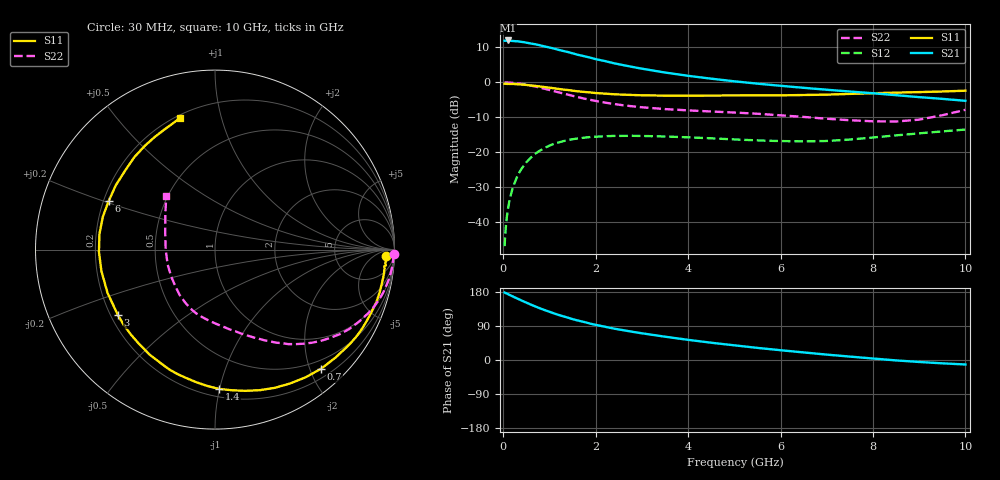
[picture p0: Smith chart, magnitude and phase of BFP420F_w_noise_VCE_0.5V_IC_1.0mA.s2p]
! Infineon Technologies  Discrete & RF Semiconductors
! BFP420F
! VCE =  0.5 V,  IC =  1.0 mA
! Common Emitter S-Parameters:  Sep 2011
# GHz  S  MA  R  50
!  f  S11  S21  S12  S22
! GHz  MAG  ANG  MAG  ANG  MAG  ANG  MAG  ANG
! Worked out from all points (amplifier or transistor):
!   54 points, 30 MHz to 10 GHz, reference 50 ohm
!   highest |S21| = 12.0 dB at 100 MHz (marker M1)
!   |S21| within 3 dB of that: start of sweep to 1.295 GHz
!   unconditionally stable (mu >= 1): 3.613 GHz to end of sweep
!   at 120 MHz: K = 0.02, MSG = 23.5 dB, |S12| = -35.0 dB
!   at 1.3 GHz: K = 0.27, MSG = 12.9 dB, |S12| = -16.9 dB
!   at 10 GHz: K = 1.78, MAG = -1.0 dB, |S12| = -13.5 dB
!   lowest NFmin = 0.80 dB at 450 MHz
!   S11 on the Smith chart (normalised r, x): 30 MHz: 26, -22; 700 MHz: 0.35, -2.18; 1.4 GHz: 0.25, -1.00; 3 GHz: 0.23, -0.29; 6 GHz: 0.22, +0.21; 10 GHz: 0.22, +0.75
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0.03  0.9555 -2.2  3.957 178.0  0.0045 89.6  0.9956 -1.5
0.06  0.9521 -4.6  3.949 176.4  0.009 88.4  0.995 -2.9
0.1  0.9499 -7.2  3.982 173.9  0.0149 86.0  0.9925 -4.8
0.2  0.948 -14.3  3.92 168.3  0.0298 81.3  0.983 -9.5
0.3  0.9393 -21.4  3.878 162.4  0.0444 77.2  0.9683 -14.1
0.45  0.9246 -31.7  3.757 154.1  0.065 70.8  0.9371 -20.5
0.7  0.8888 -48.3  3.504 141.1  0.0957 60.5  0.8693 -30.6
0.8  0.8722 -54.7  3.39 136.1  0.1059 56.7  0.8393 -34.2
1  0.8388 -66.7  3.157 127.3  0.124 49.7  0.7777 -40.9
1.2  0.8044 -78.0  2.918 118.8  0.1379 43.3  0.7193 -46.8
1.4  0.7763 -88.4  2.716 111.7  0.1489 37.7  0.6663 -52.2
1.7  0.7337 -102.4  2.411 101.7  0.1598 30.5  0.5957 -59.1
2  0.7029 -114.9  2.147 92.8  0.1664 24.5  0.5416 -65.4
2.4  0.6747 -128.8  1.875 82.8  0.1709 18.1  0.4893 -72.8
3  0.6525 -146.1  1.57 70.5  0.1706 11.2  0.4393 -82.2
3.5  0.6455 -158.1  1.382 61.5  0.1676 7.2  0.4141 -89.0
4.5  0.6468 -178.9  1.129 45.6  0.1579 2.5  0.3823 -101.0
5.5  0.6511 163.7  0.958 32.0  0.1474 2.4  0.3549 -113.0
6  0.6513 155.4  0.893 25.8  0.1441 4.1  0.3371 -120.0
7  0.6668 138.6  0.784 14.2  0.1446 9.5  0.301 -137.2
8.5  0.7122 118.0  0.655 -1.1  0.1739 15.0  0.2747 -179.8
10  0.759 104.8  0.544 -11.8  0.2108 13.0  0.4043 132.2
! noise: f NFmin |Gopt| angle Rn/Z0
0.45  0.8  0.67  17  0.46
0.9  0.92  0.64  37  0.43
1.9  1.38  0.51  82  0.32
2.4  1.57  0.51  97  0.3
3.5  2.11  0.52  131  0.19
